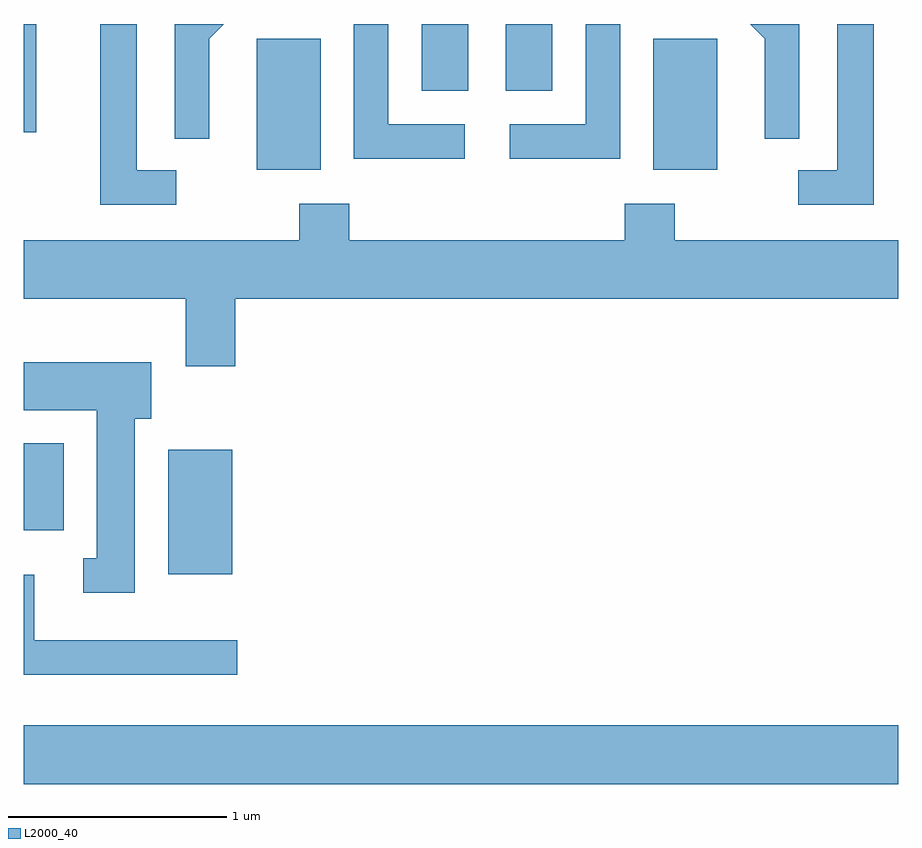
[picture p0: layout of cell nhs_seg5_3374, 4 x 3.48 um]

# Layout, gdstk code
import gdstk
lib = gdstk.Library(unit=1e-6, precision=1e-09)
def R(c, l, rs):  # rectangles x0, y0, x1, y1
    for r in rs: c.add(gdstk.rectangle(r[:2], r[2:], *l))
def P(c, l, *ps):  # polygons
    for p in ps: c.add(gdstk.Polygon(p, *l))
L2000_40 = (2000, 40)

nhs_seg5_3374 = lib.new_cell('nhs_seg5_3374')
R(nhs_seg5_3374, L2000_40, [(285.611,1434.596,289.611,1434.864), (286.271,1435.556,286.564,1436.124), (285.611,1435.756,285.794,1436.154), (286.676,1437.406,286.969,1438.004), (288.491,1437.406,288.784,1438.004), (285.611,1437.576,285.669,1438.072), (287.431,1437.766,287.644,1438.072), (287.816,1437.766,288.029,1438.072)])
P(nhs_seg5_3374, L2000_40, [(286.308,1437.404),(286.129,1437.404),(286.129,1438.072),(285.961,1438.072),(285.961,1437.246),(286.308,1437.246)],
  [(289.499,1438.072),(289.331,1438.072),(289.331,1437.404),(289.153,1437.404),(289.153,1437.246),(289.499,1437.246)],
  [(286.459,1438.004),(286.527,1438.072),(286.301,1438.072),(286.301,1437.548),(286.459,1437.548)],
  [(287.628,1437.614),(287.279,1437.614),(287.279,1438.072),(287.121,1438.072),(287.121,1437.456),(287.628,1437.456)],
  [(289.159,1438.072),(288.933,1438.072),(289.001,1438.004),(289.001,1437.548),(289.159,1437.548)],
  [(288.339,1438.072),(288.181,1438.072),(288.181,1437.614),(287.833,1437.614),(287.833,1437.456),(288.339,1437.456)],
  [(286.579,1436.816),(289.611,1436.816),(289.611,1437.084),(288.589,1437.084),(288.589,1437.249),(288.361,1437.249),(288.361,1437.084),(287.099,1437.084),(287.099,1437.249),(286.871,1437.249),(286.871,1437.084),(285.611,1437.084),(285.611,1436.816),(286.351,1436.816),(286.351,1436.506),(286.579,1436.506)],
  [(286.119,1436.266),(286.194,1436.266),(286.194,1436.524),(285.611,1436.524),(285.611,1436.306),(285.946,1436.306),(285.946,1435.629),(285.883,1435.629),(285.883,1435.471),(286.119,1435.471)],
  [(286.588,1435.254),(285.659,1435.254),(285.659,1435.554),(285.611,1435.554),(285.611,1435.096),(286.588,1435.096)])

lib.write_gds('nhs_seg5_3374.gds')
